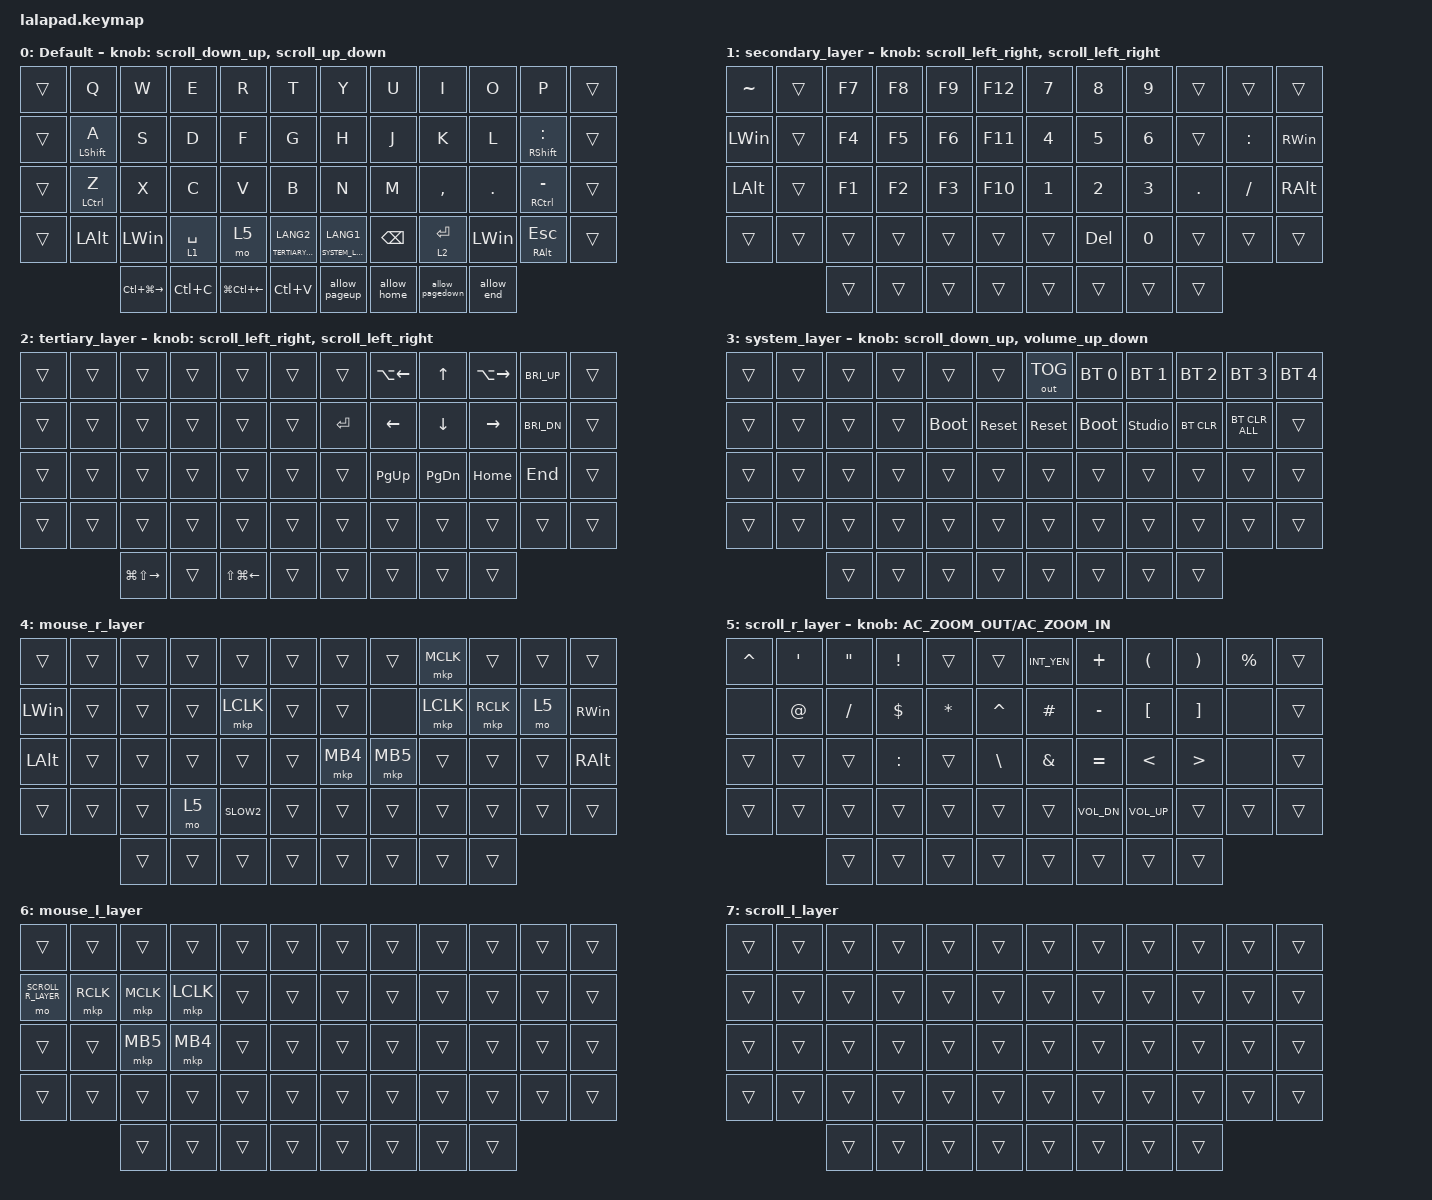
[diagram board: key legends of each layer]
#include <input/processors.dtsi>
#include <behaviors.dtsi>
#include <dt-bindings/zmk/bt.h>
#include <dt-bindings/zmk/keys.h>
#include <dt-bindings/zmk/outputs.h>
#include <dt-bindings/zmk/pointing.h>

#define DEFAULT_LAYER   0
#define SECONDARY_LAYER 1
#define TERTIARY_LAYER  2
#define SYSTEM_LAYER    3
#define MOUSE_R_LAYER   4
#define SCROLL_R_LAYER  5
#define MOUSE_L_LAYER   6
#define SCROLL_L_LAYER  7

// Mouse Scroll Value

#define ZMK_POINTING_DEFAULT_SCRL_VAL 100

// cirque trackpad input&layer control

&glidepoint_listener_R {
    input-processors =
        <&zip_xy_transform (INPUT_TRANSFORM_XY_SWAP | INPUT_TRANSFORM_X_INVERT | INPUT_TRANSFORM_Y_INVERT)>,
        <&zip_xy_scaler 4 2>,
        <&zip_temp_layer MOUSE_R_LAYER 500>;

    lowspeedmode {
        layers = <SECONDARY_LAYER>;
        input-processors =
            <&zip_xy_transform (INPUT_TRANSFORM_XY_SWAP | INPUT_TRANSFORM_X_INVERT | INPUT_TRANSFORM_Y_INVERT)>,
            <&zip_xy_scaler 3 5>,
            <&zip_temp_layer MOUSE_R_LAYER 500>;
    };

    scroller {
        layers = <SCROLL_R_LAYER>;
        input-processors =
            <&zip_xy_to_scroll_mapper>,
            <&zip_scroll_transform (INPUT_TRANSFORM_XY_SWAP | INPUT_TRANSFORM_Y_INVERT)>,
            <&zip_scroll_scaler 1 8>;
    };
};

&glidepoint_listener_L {
    input-processors =
        <&zip_xy_transform (INPUT_TRANSFORM_XY_SWAP | INPUT_TRANSFORM_X_INVERT | INPUT_TRANSFORM_Y_INVERT)>,
        <&zip_xy_scaler 3 2>,
        <&zip_temp_layer MOUSE_L_LAYER 500>;

    lowspeedmode {
        layers = <SECONDARY_LAYER>;
        input-processors =
            <&zip_xy_transform (INPUT_TRANSFORM_XY_SWAP | INPUT_TRANSFORM_X_INVERT | INPUT_TRANSFORM_Y_INVERT)>,
            <&zip_xy_scaler 3 4>,
            <&zip_temp_layer MOUSE_L_LAYER 500>;
    };

    scroller {
        layers = <SCROLL_L_LAYER>;
        input-processors =
            <&zip_xy_to_scroll_mapper>,
            <&zip_scroll_transform (INPUT_TRANSFORM_XY_SWAP | INPUT_TRANSFORM_Y_INVERT)>,
            <&zip_scroll_scaler 1 6>;
    };
};

/ {
    behaviors {
        // Encoder to Mouse Scroll

        scroll_up_down: behavior_sensor_rotate_mouse_wheel_up_down {
            compatible = "zmk,behavior-sensor-rotate";
            #sensor-binding-cells = <0>;
            bindings = <&msc SCRL_UP>, <&msc SCRL_DOWN>;

            tap-ms = <20>;
        };

        scroll_down_up: behavior_sensor_rotate_mouse_wheel_down_up {
            compatible = "zmk,behavior-sensor-rotate";
            #sensor-binding-cells = <0>;
            bindings = <&msc SCRL_DOWN>, <&msc SCRL_UP>;

            tap-ms = <20>;
        };

        scroll_left_right: behavior_sensor_rotate_mouse_wheel_left_right {
            compatible = "zmk,behavior-sensor-rotate";
            #sensor-binding-cells = <0>;
            bindings = <&msc SCRL_LEFT>, <&msc SCRL_RIGHT>;

            tap-ms = <20>;
        };

        scroll_right_left: behavior_sensor_rotate_mouse_wheel_right_left {
            compatible = "zmk,behavior-sensor-rotate";
            #sensor-binding-cells = <0>;
            bindings = <&msc SCRL_RIGHT>, <&msc SCRL_LEFT>;

            tap-ms = <20>;
        };

        volume_up_down: behavior_sensor_rotate_volume_up_down {
            compatible = "zmk,behavior-sensor-rotate";
            #sensor-binding-cells = <0>;
            bindings = <&kp C_VOLUME_UP>, <&kp C_VOLUME_DOWN>;

            tap-ms = <20>;
        };

        dot_comma: dot_comma {
            compatible = "zmk,behavior-mod-morph";
            #binding-cells = <0>;
            bindings = <&kp KP_DOT>, <&kp COMMA>;

            mods = <(MOD_LSFT|MOD_RSFT)>;
            label = "DOT_COMMA";
        };

        pls_minus: pls_minus {
            compatible = "zmk,behavior-mod-morph";
            #binding-cells = <0>;
            bindings = <&kp PLUS>, <&kp MINUS>;

            mods = <(MOD_LSFT|MOD_RSFT)>;
            label = "PLS_MINUS";
        };

        allow_pageup: allow_pageup {
            compatible = "zmk,behavior-mod-morph";
            #binding-cells = <0>;
            bindings = <&kp UP>, <&kp PAGE_UP>;

            mods = <(MOD_LCTL|MOD_RCTL)>;
            label = "ALLOW_PAGEUP";
        };

        allow_pagedown: allow_pagedown {
            compatible = "zmk,behavior-mod-morph";
            #binding-cells = <0>;
            bindings = <&kp DOWN>, <&kp PAGE_DOWN>;

            mods = <(MOD_LCTL|MOD_RCTL)>;
            label = "ALLOW_PAGEDOWN";
        };

        allow_home: allow_home {
            compatible = "zmk,behavior-mod-morph";
            #binding-cells = <0>;
            bindings = <&kp LEFT>, <&kp HOME>;

            mods = <(MOD_LCTL|MOD_RCTL)>;
            label = "ALLOW_HOME";
        };

        allow_end: allow_end {
            compatible = "zmk,behavior-mod-morph";
            #binding-cells = <0>;
            bindings = <&kp RIGHT>, <&kp END>;

            mods = <(MOD_LCTL|MOD_RCTL)>;
            label = "ALLOW_END";
        };

        mt2: mod_tap2 {
            compatible = "zmk,behavior-hold-tap";
            #binding-cells = <2>;
            flavor = "tap-preferred";
            tapping-term-ms = <200>;
            quick-tap-ms = <200>;
            require-prior-idle-ms = <125>;
            bindings = <&kp>, <&kp>;
        };

        mt3: mod_tap3 {
            compatible = "zmk,behavior-hold-tap";
            bindings = <&kp>, <&kp>;

            #binding-cells = <2>;
            tapping-term-ms = <200>;
            quick-tap-ms = <(-1)>;
            require-prior-idle-ms = <(-1)>;
            flavor = "tap-preferred";
        };
    };

    combos {
        compatible = "zmk,combos";

        cmb_clickL {
            bindings = <&mkp LCLK>;
            key-positions = <32 33>;
        };

        cmb_clickR {
            bindings = <&mkp RCLK>;
            key-positions = <32 33 34>;
        };

        cmb_clickM {
            bindings = <&mkp MCLK>;
            key-positions = <34 32 21>;
        };

        cmb_tab {
            bindings = <&kp TAB>;
            key-positions = <4 3>;
        };

        cmb_shift-tab {
            bindings = <&kp LS(TAB)>;
            key-positions = <3 2 4>;
        };

        cmb_clickL2 {
            bindings = <&mkp LCLK>;
            key-positions = <16 15>;
        };
    };

    keymap {
        compatible = "zmk,keymap";

        DEFAULT_LAYER {
            display-name = "Default";
            sensor-bindings = <&scroll_down_up>, <&scroll_up_down>;

            bindings = <
&trans  &kp Q                &kp W              &kp E        &kp R             &kp T                     &kp Y                   &kp U          &kp I            &kp O         &kp P                     &trans
&trans  &mt3 LEFT_SHIFT A    &kp S              &kp D        &kp F             &kp G                     &kp H                   &kp J          &kp K            &kp L         &mt2 RSHIFT COLON         &trans
&trans  &mt3 LEFT_CONTROL Z  &kp X              &kp C        &kp V             &kp B                     &kp N                   &kp M          &kp COMMA        &kp PERIOD    &mt2 RIGHT_CONTROL MINUS  &trans
&trans  &kp LEFT_ALT         &kp LEFT_WIN       &lt 1 SPACE  &mo 5             &lt TERTIARY_LAYER LANG2  &lt SYSTEM_LAYER LANG1  &kp BACKSPACE  &lt 2 ENTER      &kp LEFT_WIN  &mt2 RALT ESC             &trans
                             &kp LC(LG(RIGHT))  &kp LC(C)    &kp LG(LC(LEFT))  &kp LC(V)                 &allow_pageup           &allow_home    &allow_pagedown  &allow_end
            >;
        };

        SECONDARY_LAYER {
            display-name = "secondary_layer";
            sensor-bindings = <&scroll_left_right>, <&scroll_left_right>;

            bindings = <
&kp TILDE     &trans  &kp F7  &kp F8  &kp F9  &kp F12  &kp N7  &kp N8   &kp N9  &trans   &trans     &trans
&kp LEFT_WIN  &trans  &kp F4  &kp F5  &kp F6  &kp F11  &kp N4  &kp N5   &kp N6  &trans   &kp COLON  &kp RIGHT_WIN
&kp LEFT_ALT  &trans  &kp F1  &kp F2  &kp F3  &kp F10  &kp N1  &kp N2   &kp N3  &kp DOT  &kp SLASH  &kp RIGHT_ALT
&trans        &trans  &trans  &trans  &trans  &trans   &trans  &kp DEL  &kp N0  &trans   &trans     &trans
                      &trans  &trans  &trans  &trans   &trans  &trans   &trans  &trans
            >;
        };

        TERTIARY_LAYER {
            display-name = "tertiary_layer";
            bindings = <
&trans  &trans  &trans             &trans  &trans            &trans  &trans     &kp LA(LEFT)  &kp UP         &kp LA(RIGHT)  &kp C_BRI_UP  &trans
&trans  &trans  &trans             &trans  &trans            &trans  &kp ENTER  &kp LEFT      &kp DOWN       &kp RIGHT      &kp C_BRI_DN  &trans
&trans  &trans  &trans             &trans  &trans            &trans  &trans     &kp PAGE_UP   &kp PAGE_DOWN  &kp HOME       &kp END       &trans
&trans  &trans  &trans             &trans  &trans            &trans  &trans     &trans        &trans         &trans         &trans        &trans
                &kp LG(LS(RIGHT))  &trans  &kp LS(LG(LEFT))  &trans  &trans     &trans        &trans         &trans
            >;

            sensor-bindings = <&scroll_left_right>, <&scroll_left_right>;
        };

        SYSTEM_LAYER {
            display-name = "system_layer";
            sensor-bindings = <&scroll_down_up>, <&volume_up_down>;

            bindings = <
&trans  &trans  &trans  &trans  &trans       &trans      &out OUT_TOG  &bt BT_SEL 0  &bt BT_SEL 1    &bt BT_SEL 2  &bt BT_SEL 3    &bt BT_SEL 4
&trans  &trans  &trans  &trans  &bootloader  &sys_reset  &sys_reset    &bootloader   &studio_unlock  &bt BT_CLR    &bt BT_CLR_ALL  &trans
&trans  &trans  &trans  &trans  &trans       &trans      &trans        &trans        &trans          &trans        &trans          &trans
&trans  &trans  &trans  &trans  &trans       &trans      &trans        &trans        &trans          &trans        &trans          &trans
                &trans  &trans  &trans       &trans      &trans        &trans        &trans          &trans
            >;
        };

        MOUSE_R_LAYER {
            display-name = "mouse_r_layer";
            bindings = <
&trans        &trans  &trans  &trans  &trans       &trans  &trans    &trans    &mkp MCLK  &trans     &trans  &trans
&kp LEFT_WIN  &trans  &trans  &trans  &mkp LCLK    &trans  &trans    &none     &mkp LCLK  &mkp RCLK  &mo 5   &kp RIGHT_WIN
&kp LEFT_ALT  &trans  &trans  &trans  &trans       &trans  &mkp MB4  &mkp MB5  &trans     &trans     &trans  &kp RIGHT_ALT
&trans        &trans  &trans  &mo 5   &kp C_SLOW2  &trans  &trans    &trans    &trans     &trans     &trans  &trans
                      &trans  &trans  &trans       &trans  &trans    &trans    &trans     &trans
            >;
        };

        SCROLL_R_LAYER {
            display-name = "scroll_r_layer";
            bindings = <
&kp CARET  &kp SINGLE_QUOTE  &kp DOUBLE_QUOTES  &kp EXCL    &trans     &trans         &kp INT_YEN    &kp PLUS      &kp LEFT_PARENTHESIS  &kp RIGHT_PARENTHESIS  &kp PERCENT  &trans
&none      &kp AT_SIGN       &kp SLASH          &kp DOLLAR  &kp ASTRK  &kp CARET      &kp HASH       &kp MINUS     &kp LEFT_BRACKET      &kp RIGHT_BRACKET      &none        &trans
&trans     &trans            &trans             &kp COLON   &trans     &kp BACKSLASH  &kp AMPERSAND  &kp EQUAL     &kp LESS_THAN         &kp GREATER_THAN       &none        &trans
&trans     &trans            &trans             &trans      &trans     &trans         &trans         &kp C_VOL_DN  &kp C_VOLUME_UP       &trans                 &trans       &trans
                             &trans             &trans      &trans     &trans         &trans         &trans        &trans                &trans
            >;

            sensor-bindings = <&inc_dec_kp C_AC_ZOOM_OUT C_AC_ZOOM_IN>;
        };

        MOUSE_L_LAYER {
            display-name = "mouse_l_layer";
            bindings = <
&trans              &trans     &trans     &trans     &trans  &trans  &trans  &trans  &trans  &trans  &trans  &trans
&mo SCROLL_R_LAYER  &mkp RCLK  &mkp MCLK  &mkp LCLK  &trans  &trans  &trans  &trans  &trans  &trans  &trans  &trans
&trans              &trans     &mkp MB5   &mkp MB4   &trans  &trans  &trans  &trans  &trans  &trans  &trans  &trans
&trans              &trans     &trans     &trans     &trans  &trans  &trans  &trans  &trans  &trans  &trans  &trans
                               &trans     &trans     &trans  &trans  &trans  &trans  &trans  &trans
            >;
        };

        SCROLL_L_LAYER {
            display-name = "scroll_l_layer";
            bindings = <
&trans  &trans  &trans  &trans  &trans  &trans  &trans  &trans  &trans  &trans  &trans  &trans
&trans  &trans  &trans  &trans  &trans  &trans  &trans  &trans  &trans  &trans  &trans  &trans
&trans  &trans  &trans  &trans  &trans  &trans  &trans  &trans  &trans  &trans  &trans  &trans
&trans  &trans  &trans  &trans  &trans  &trans  &trans  &trans  &trans  &trans  &trans  &trans
                &trans  &trans  &trans  &trans  &trans  &trans  &trans  &trans
            >;
        };
    };
};
